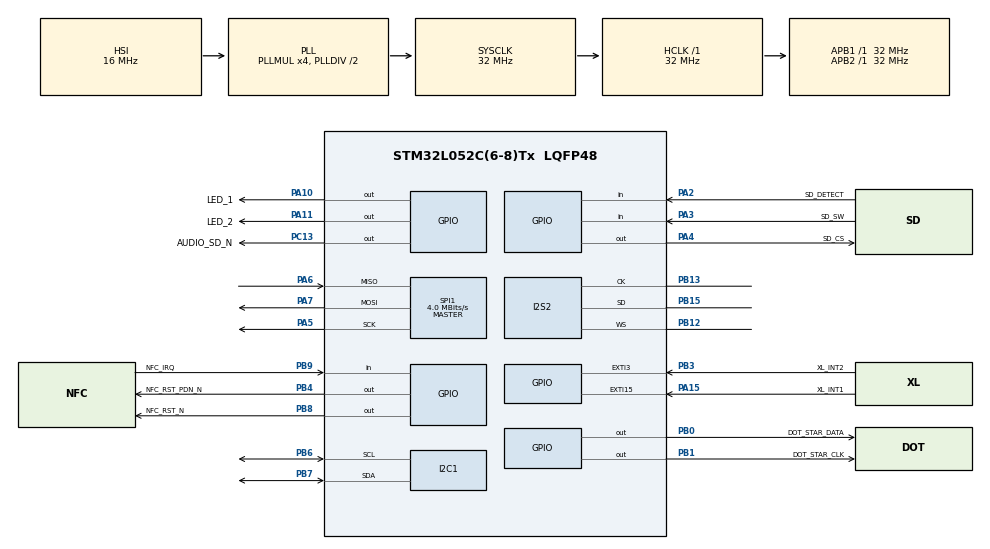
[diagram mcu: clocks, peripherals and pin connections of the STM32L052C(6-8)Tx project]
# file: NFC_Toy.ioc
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Dma.Request0=SPI2_TX
Dma.Request1=SPI1_RX
Dma.Request2=SPI1_TX
Dma.SPI1_RX.1.Direction=DMA_PERIPH_TO_MEMORY
Dma.SPI1_RX.1.Instance=DMA1_Channel2
Dma.SPI1_RX.1.MemDataAlignment=DMA_MDATAALIGN_BYTE
Dma.SPI1_RX.1.MemInc=DMA_MINC_ENABLE
Dma.SPI1_RX.1.Mode=DMA_NORMAL
Dma.SPI1_RX.1.PeriphDataAlignment=DMA_PDATAALIGN_BYTE
Dma.SPI1_RX.1.PeriphInc=DMA_PINC_DISABLE
Dma.SPI1_RX.1.Priority=DMA_PRIORITY_LOW
Dma.SPI1_TX.2.Direction=DMA_MEMORY_TO_PERIPH
Dma.SPI1_TX.2.Instance=DMA1_Channel3
Dma.SPI1_TX.2.MemDataAlignment=DMA_MDATAALIGN_BYTE
Dma.SPI1_TX.2.MemInc=DMA_MINC_ENABLE
Dma.SPI1_TX.2.Mode=DMA_NORMAL
Dma.SPI1_TX.2.PeriphDataAlignment=DMA_PDATAALIGN_BYTE
Dma.SPI1_TX.2.PeriphInc=DMA_PINC_DISABLE
Dma.SPI1_TX.2.Priority=DMA_PRIORITY_LOW
Dma.SPI2_TX.0.Direction=DMA_MEMORY_TO_PERIPH
Dma.SPI2_TX.0.Instance=DMA1_Channel5
Dma.SPI2_TX.0.MemDataAlignment=DMA_MDATAALIGN_HALFWORD
Dma.SPI2_TX.0.MemInc=DMA_MINC_ENABLE
Dma.SPI2_TX.0.Mode=DMA_NORMAL
Dma.SPI2_TX.0.PeriphDataAlignment=DMA_PDATAALIGN_HALFWORD
Dma.SPI2_TX.0.PeriphInc=DMA_PINC_DISABLE
Dma.SPI2_TX.0.Priority=DMA_PRIORITY_LOW
FATFS._FS_LOCK=0
FATFS._FS_MINIMIZE=3
FATFS._FS_READONLY=1
FATFS._FS_TINY=1
I2C1.Timing=0x00303D5B
I2S2.AudioFreq=I2S_AUDIOFREQ_44K
I2S2.CPOL=I2S_CPOL_HIGH
I2S2.ErrorAudioFreq=-1.18 %
I2S2.Instance=SPI$Index
I2S2.RealAudioFreq=43.478 KHz
I2S2.VirtualMode=I2S_MODE_MASTER
Mcu.Family=STM32L0
Mcu.Name=STM32L052C(6-8)Tx
Mcu.Package=LQFP48
NVIC.DMA1_Channel2_3_IRQn=true\:0\:0\:false\:false\:true\:false\:true
NVIC.DMA1_Channel4_5_6_7_IRQn=true\:0\:0\:false\:false\:true\:false\:true
NVIC.EXTI4_15_IRQn=true\:0\:0\:false\:false\:true\:true\:true
PA10.GPIO_Label=LED_1
PA10.Signal=GPIO_Output
PA11.GPIO_Label=LED_2
PA11.Signal=GPIO_Output
PA13.Mode=Serial_Wire
PA13.Signal=SYS_SWDIO
PA14.Mode=Serial_Wire
PA14.Signal=SYS_SWCLK
PA15.GPIO_Label=XL_INT1
PA15.Signal=GPXTI15
PA2.GPIO_Label=SD_DETECT
PA2.GPIO_PuPd=GPIO_PULLUP
PA2.Signal=GPIO_Input
PA3.GPIO_Label=SD_SW
PA3.GPIO_PuPd=GPIO_PULLUP
PA3.Signal=GPIO_Input
PA4.GPIO_Label=SD_CS
PA4.GPIO_PuPd=GPIO_PULLUP
PA4.PinState=GPIO_PIN_SET
PA4.Signal=GPIO_Output
PA5.GPIO_PuPd=GPIO_NOPULL
PA5.Mode=Full_Duplex_Master
PA5.Signal=SPI1_SCK
PA6.GPIO_PuPd=GPIO_PULLUP
PA6.Mode=Full_Duplex_Master
PA6.Signal=SPI1_MISO
PA7.GPIO_PuPd=GPIO_NOPULL
PA7.Mode=Full_Duplex_Master
PA7.Signal=SPI1_MOSI
PB0.GPIO_Label=DOT_STAR_DATA
PB0.Signal=GPIO_Output
PB1.GPIO_Label=DOT_STAR_CLK
PB1.Signal=GPIO_Output
PB12.Mode=Half_Duplex_Master
PB12.Signal=I2S2_WS
PB13.Mode=Half_Duplex_Master
PB13.Signal=I2S2_CK
PB15.Mode=Half_Duplex_Master
PB15.Signal=I2S2_SD
PB3.GPIO_Label=XL_INT2
PB3.Signal=GPXTI3
PB4.GPIO_Label=NFC_RST_PDN_N
PB4.GPIO_ModeDefaultOutputPP=GPIO_MODE_OUTPUT_OD
PB4.PinState=GPIO_PIN_SET
PB4.Signal=GPIO_Output
PB6.GPIO_PuPdOD=GPIO_NOPULL
PB6.Mode=I2C
PB6.Signal=I2C1_SCL
PB7.GPIO_PuPdOD=GPIO_NOPULL
PB7.Mode=I2C
PB7.Signal=I2C1_SDA
PB8.GPIO_Label=NFC_RST_N
PB8.Signal=GPIO_Output
PB9.GPIO_Label=NFC_IRQ
PB9.Signal=GPIO_Input
PC13.GPIO_Label=AUDIO_SD_N
PC13.Signal=GPIO_Output
ProjectManager.HeapSize=0x200
ProjectManager.StackSize=0x400
ProjectManager.TargetToolchain=TrueSTUDIO
RCC.AHBFreq_Value=32000000
RCC.APB1Freq_Value=32000000
RCC.APB1TimFreq_Value=32000000
RCC.APB2Freq_Value=32000000
RCC.APB2TimFreq_Value=32000000
RCC.HCLKFreq_Value=32000000
RCC.HSE_VALUE=8000000
RCC.HSI16_VALUE=16000000
RCC.HSI48_VALUE=48000000
RCC.HSI_VALUE=16000000
RCC.I2c1ClockSelection=RCC_I2C1CLKSOURCE_HSI
RCC.LSE_VALUE=32768
RCC.MSI_VALUE=2097000
RCC.PLLMUL=RCC_PLLMUL_4
RCC.SYSCLKFreq_VALUE=32000000
RCC.SYSCLKSource=RCC_SYSCLKSOURCE_PLLCLK
RCC.VCOOutputFreq_Value=64000000
SPI1.BaudRatePrescaler=SPI_BAUDRATEPRESCALER_8
SPI1.CalculateBaudRate=4.0 MBits/s
SPI1.Direction=SPI_DIRECTION_2LINES
SPI1.Mode=SPI_MODE_MASTER
SPI1.VirtualType=VM_MASTER
VP_FATFS_VS_Generic.Mode=User_defined
VP_RNG_VS_RNG.Mode=RNG_Activate
board=NFC_Toy

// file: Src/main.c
/* USER CODE BEGIN Header */
/**
  ******************************************************************************
  * @file           : main.c
  * @brief          : Main program body
  ******************************************************************************
  * @attention
  *
  * <h2><center>&copy; Copyright (c) 2019 STMicroelectronics.
  * All rights reserved.</center></h2>
  *
  * This software component is licensed by ST under Ultimate Liberty license
  * SLA0044, the "License"; You may not use this file except in compliance with
  * the License. You may obtain a copy of the License at:
  *                             www.st.com/SLA0044
  *
  ******************************************************************************
  */
/* USER CODE END Header */

#include "main.h"
#include "dma.h"
#include "fatfs.h"
#include "i2c.h"
#include "i2s.h"
#include "rng.h"
#include "spi.h"
#include "gpio.h"

/* USER CODE BEGIN PV */
/* Private variables ---------------------------------------------------------*/
FATFS FatFs;
/* USER CODE END PV */

void SystemClock_Config(void);
/* USER CODE BEGIN PFP */
/* Private function prototypes -----------------------------------------------*/

/* USER CODE END PFP */

int main(void)
{

  /* MCU Configuration--------------------------------------------------------*/

  /* Reset of all peripherals, Initializes the Flash interface and the Systick. */
  HAL_Init();

  /* Configure the system clock */
  SystemClock_Config();

  /* Initialize all configured peripherals */
  MX_GPIO_Init();
  MX_DMA_Init();
  MX_I2C1_Init();
  MX_I2S2_Init();
  MX_SPI1_Init();
  MX_FATFS_Init();
  MX_RNG_Init();
  /* USER CODE BEGIN 2 */
  FRESULT fr;     /* FatFs return code */
  //ring_rgb.r = 0; ring_rgb.g = 0; ring_rgb.b = 0;
  //ring_set_all_pixels(ring, ring_rgb); // Initialize LEDs to off

  //LIS3DH accel = LIS3DH();
  //accel.begin(0x32);

  HAL_GPIO_WritePin(SD_CS_GPIO_Port, SD_CS_Pin, GPIO_PIN_SET);
  fr = f_mount(&FatFs, "", 1);
  //play_wav();
  uint16_t sound[128] = {0, 0,   803, 0,  1598, 0,  2378, 0,  3135, 0,  3862, 0,  4551, 0,
  	         5197, 0,  5792, 0,  6332, 0,  6811, 0,  7224, 0,  7568, 0,  7839, 0,
  	         8034, 0,  8152, 0,  8192, 0,  8152, 0,  8034, 0,  7839, 0,  7568, 0,
  	         7224, 0,  6811, 0,  6332, 0,  5792, 0,  5197, 0,  4551, 0,  3862, 0,
  	         3135, 0,  2378, 0,  1598, 0,   803, 0,     0, 0, 15581, 0, 14786, 0,
  	        14006, 0, 13249, 0, 12522, 0, 11833, 0, 11187, 0, 10591, 0, 10052, 0,
  	         9572, 0,  9159, 0,  8816, 0,  8545, 0,  8350, 0,  8232, 0,  8192, 0,
  	         8232, 0,  8350, 0,  8545, 0,  8816, 0,  9159, 0,  9572, 0, 10052, 0,
  	        10591, 0, 11187, 0, 11833, 0, 12522, 0, 13249, 0, 14006, 0, 14786, 0,
  	        15581, 0};
  HAL_I2S_Transmit_DMA(&hi2s2, &sound[0], 128);    // play buffer
  /* USER CODE END 2 */

  /* Infinite loop */
  while (1)
  {

    /* USER CODE BEGIN 3 */
    //HAL_GPIO_TogglePin(LED_1_GPIO_Port, LED_1_Pin);
    //HAL_GPIO_TogglePin(LED_2_GPIO_Port, LED_2_Pin);
    //ring_rgbr = 0; ring_rgbg = 0; ring_rgbb = 220;
    //ring_loop_animation(ring, 1, ring_rgb);
    //accelread();

	GPIO_PinState sd_present = HAL_GPIO_ReadPin(SD_SW_GPIO_Port, SD_SW_Pin);
	if (sd_present == GPIO_PIN_RESET) {
		HAL_GPIO_WritePin(LED_2_GPIO_Port, LED_2_Pin, GPIO_PIN_SET);
	} else {
		HAL_GPIO_WritePin(LED_2_GPIO_Port, LED_2_Pin, GPIO_PIN_RESET);
	}

	if (fr == FR_OK) {
		HAL_GPIO_TogglePin(LED_1_GPIO_Port, LED_1_Pin);
	}
	HAL_Delay(200);

  }
  /* USER CODE END 3 */
}

void SystemClock_Config(void)
{
  RCC_OscInitTypeDef RCC_OscInitStruct = {0};
  RCC_ClkInitTypeDef RCC_ClkInitStruct = {0};
  RCC_PeriphCLKInitTypeDef PeriphClkInit = {0};

  /** Configure the main internal regulator output voltage
  */
  __HAL_PWR_VOLTAGESCALING_CONFIG(PWR_REGULATOR_VOLTAGE_SCALE1);
  /** Initializes the CPU, AHB and APB busses clocks
  */
  RCC_OscInitStruct.OscillatorType = RCC_OSCILLATORTYPE_HSI;
  RCC_OscInitStruct.HSIState = RCC_HSI_ON;
  RCC_OscInitStruct.HSICalibrationValue = RCC_HSICALIBRATION_DEFAULT;
  RCC_OscInitStruct.PLL.PLLState = RCC_PLL_ON;
  RCC_OscInitStruct.PLL.PLLSource = RCC_PLLSOURCE_HSI;
  RCC_OscInitStruct.PLL.PLLMUL = RCC_PLLMUL_4;
  RCC_OscInitStruct.PLL.PLLDIV = RCC_PLLDIV_2;
  if (HAL_RCC_OscConfig(&RCC_OscInitStruct) != HAL_OK)
  {
    Error_Handler();
  }
  /** Initializes the CPU, AHB and APB busses clocks
  */
  RCC_ClkInitStruct.ClockType = RCC_CLOCKTYPE_HCLK|RCC_CLOCKTYPE_SYSCLK
                              |RCC_CLOCKTYPE_PCLK1|RCC_CLOCKTYPE_PCLK2;
  RCC_ClkInitStruct.SYSCLKSource = RCC_SYSCLKSOURCE_PLLCLK;
  RCC_ClkInitStruct.AHBCLKDivider = RCC_SYSCLK_DIV1;
  RCC_ClkInitStruct.APB1CLKDivider = RCC_HCLK_DIV1;
  RCC_ClkInitStruct.APB2CLKDivider = RCC_HCLK_DIV1;

  if (HAL_RCC_ClockConfig(&RCC_ClkInitStruct, FLASH_LATENCY_1) != HAL_OK)
  {
    Error_Handler();
  }
  PeriphClkInit.PeriphClockSelection = RCC_PERIPHCLK_I2C1|RCC_PERIPHCLK_USB;
  PeriphClkInit.I2c1ClockSelection = RCC_I2C1CLKSOURCE_HSI;
  PeriphClkInit.UsbClockSelection = RCC_USBCLKSOURCE_PLL;
  if (HAL_RCCEx_PeriphCLKConfig(&PeriphClkInit) != HAL_OK)
  {
    Error_Handler();
  }
}

void Error_Handler(void)
{
  while(1)
  {
  }
}

/************************ (C) COPYRIGHT STMicroelectronics *****END OF FILE****/
